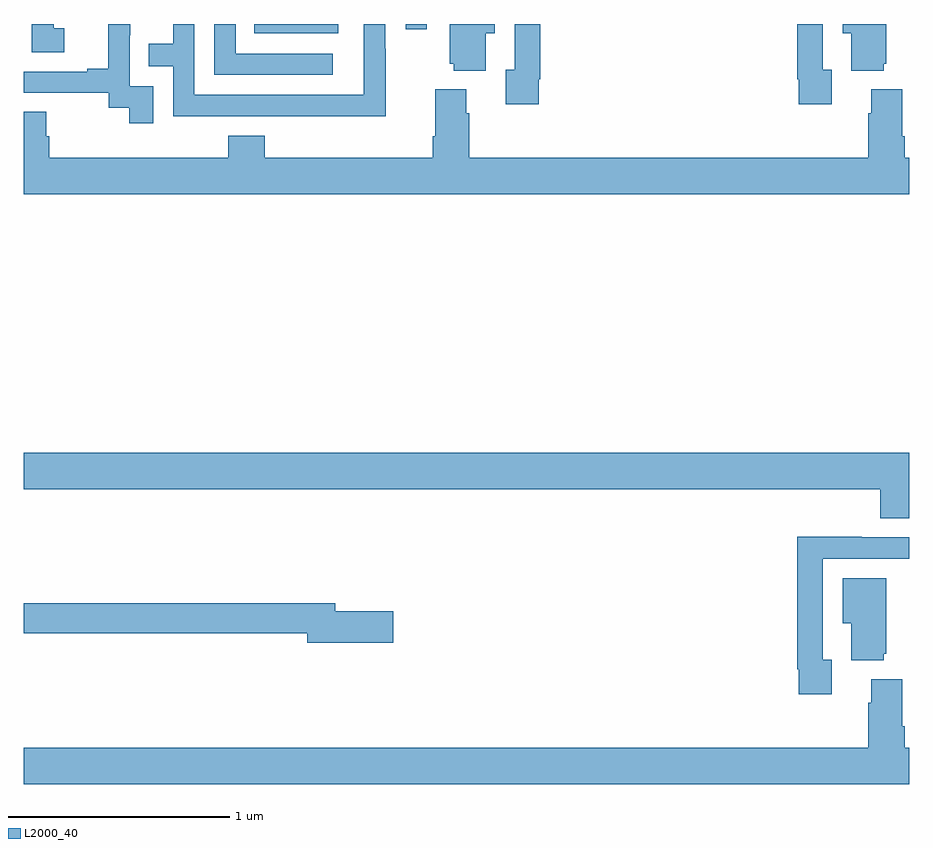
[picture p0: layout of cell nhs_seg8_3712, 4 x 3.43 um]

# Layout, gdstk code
import gdstk
lib = gdstk.Library(unit=1e-6, precision=1e-09)
def R(c, l, rs):  # rectangles x0, y0, x1, y1
    for r in rs: c.add(gdstk.rectangle(r[:2], r[2:], *l))
def P(c, l, *ps):  # polygons
    for p in ps: c.add(gdstk.Polygon(p, *l))
L2000_40 = (2000, 40)

nhs_seg8_3712 = lib.new_cell('nhs_seg8_3712')
R(nhs_seg8_3712, L2000_40, [(340.042,1151.858,340.42,1151.9), (340.725,1151.877,340.821,1151.9)])
P(nhs_seg8_3712, L2000_40, [(342.884,1151.721),(342.895,1151.721),(342.895,1151.9),(342.698,1151.9),(342.698,1151.858),(342.737,1151.858),(342.737,1151.69),(342.884,1151.69)],
  [(340.396,1151.766),(339.957,1151.766),(339.957,1151.9),(339.861,1151.9),(339.861,1151.67),(340.396,1151.67)],
  [(341.326,1151.65),(341.333,1151.65),(341.333,1151.9),(341.217,1151.9),(341.217,1151.694),(341.177,1151.694),(341.177,1151.538),(341.326,1151.538)],
  [(342.649,1151.694),(342.609,1151.694),(342.609,1151.9),(342.493,1151.9),(342.493,1151.65),(342.501,1151.65),(342.501,1151.538),(342.649,1151.538)],
  [(341.086,1151.858),(341.128,1151.858),(341.128,1151.9),(340.925,1151.9),(340.925,1151.721),(340.943,1151.721),(340.943,1151.69),(341.086,1151.69)],
  [(339.184,1151.881),(339.135,1151.881),(339.135,1151.9),(339.036,1151.9),(339.036,1151.772),(339.184,1151.772)],
  [(339.585,1151.619),(339.48,1151.619),(339.48,1151.849),(339.482,1151.849),(339.482,1151.9),(339.383,1151.9),(339.383,1151.698),(339.287,1151.698),(339.287,1151.685),(339,1151.685),(339,1151.589),(339.384,1151.589),(339.384,1151.521),(339.477,1151.521),(339.477,1151.451),(339.585,1151.451)],
  [(340.635,1151.789),(340.632,1151.789),(340.632,1151.9),(340.536,1151.9),(340.536,1151.58),(339.771,1151.58),(339.771,1151.9),(339.675,1151.9),(339.675,1151.81),(339.565,1151.81),(339.565,1151.709),(339.675,1151.709),(339.675,1151.484),(340.171,1151.484),(340.171,1151.483),(340.635,1151.483)],
  [(343,1151.296),(342.98,1151.296),(342.98,1151.392),(342.967,1151.392),(342.967,1151.605),(342.827,1151.605),(342.827,1151.498),(342.815,1151.498),(342.815,1151.296),(341.012,1151.296),(341.012,1151.498),(340.999,1151.498),(340.999,1151.605),(340.859,1151.605),(340.859,1151.392),(340.847,1151.392),(340.847,1151.296),(340.088,1151.296),(340.088,1151.395),(339.923,1151.395),(339.923,1151.296),(339.116,1151.296),(339.116,1151.394),(339.103,1151.394),(339.103,1151.504),(339,1151.504),(339,1151.132),(343,1151.132)],
  [(343,1149.964),(339,1149.964),(339,1149.8),(342.869,1149.8),(342.869,1149.667),(343,1149.667)],
  [(342.649,1149.03),(342.609,1149.03),(342.609,1149.486),(343,1149.486),(343,1149.582),(342.785,1149.582),(342.785,1149.584),(342.493,1149.584),(342.493,1148.986),(342.501,1148.986),(342.501,1148.874),(342.649,1148.874)],
  [(342.884,1149.057),(342.895,1149.057),(342.895,1149.397),(342.698,1149.397),(342.698,1149.194),(342.737,1149.194),(342.737,1149.026),(342.884,1149.026)],
  [(340.669,1149.248),(340.408,1149.248),(340.408,1149.284),(339,1149.284),(339,1149.148),(340.28,1149.148),(340.28,1149.106),(340.669,1149.106)],
  [(343,1148.632),(342.98,1148.632),(342.98,1148.728),(342.967,1148.728),(342.967,1148.941),(342.827,1148.941),(342.827,1148.834),(342.815,1148.834),(342.815,1148.632),(339,1148.632),(339,1148.468),(343,1148.468)])

lib.write_gds('nhs_seg8_3712.gds')
